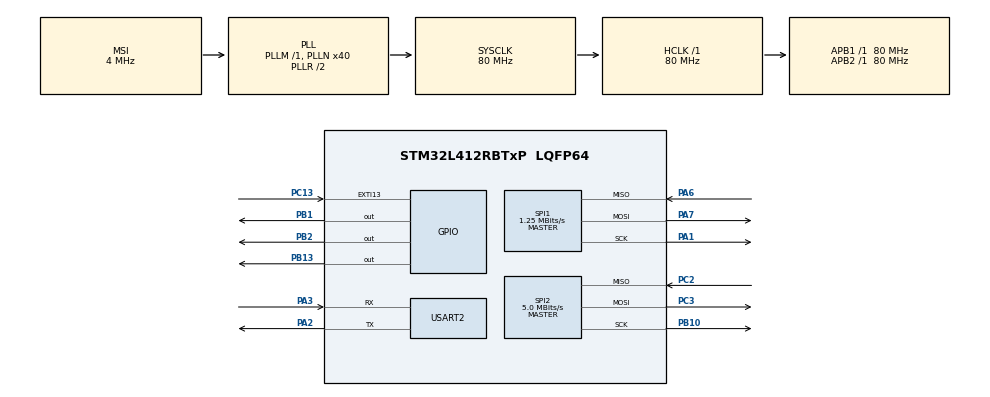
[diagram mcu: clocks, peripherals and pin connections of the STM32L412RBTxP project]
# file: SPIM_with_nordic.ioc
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Dma.Request0=SPI1_TX
Dma.Request1=SPI1_RX
Dma.SPI1_RX.1.Direction=DMA_PERIPH_TO_MEMORY
Dma.SPI1_RX.1.Instance=DMA1_Channel2
Dma.SPI1_RX.1.MemDataAlignment=DMA_MDATAALIGN_BYTE
Dma.SPI1_RX.1.MemInc=DMA_MINC_ENABLE
Dma.SPI1_RX.1.Mode=DMA_NORMAL
Dma.SPI1_RX.1.PeriphDataAlignment=DMA_PDATAALIGN_BYTE
Dma.SPI1_RX.1.PeriphInc=DMA_PINC_DISABLE
Dma.SPI1_RX.1.Priority=DMA_PRIORITY_LOW
Dma.SPI1_TX.0.Direction=DMA_MEMORY_TO_PERIPH
Dma.SPI1_TX.0.Instance=DMA1_Channel3
Dma.SPI1_TX.0.MemDataAlignment=DMA_MDATAALIGN_BYTE
Dma.SPI1_TX.0.MemInc=DMA_MINC_ENABLE
Dma.SPI1_TX.0.Mode=DMA_NORMAL
Dma.SPI1_TX.0.PeriphDataAlignment=DMA_PDATAALIGN_BYTE
Dma.SPI1_TX.0.PeriphInc=DMA_PINC_DISABLE
Dma.SPI1_TX.0.Priority=DMA_PRIORITY_LOW
Mcu.Family=STM32L4
Mcu.Name=STM32L412RBTxP
Mcu.Package=LQFP64
NVIC.DMA1_Channel2_IRQn=true\:0\:0\:false\:false\:true\:false\:true
NVIC.DMA1_Channel3_IRQn=true\:0\:0\:false\:false\:true\:false\:true
NVIC.EXTI15_10_IRQn=true\:0\:0\:false\:false\:true\:true\:true
NVIC.PriorityGroup=NVIC_PRIORITYGROUP_4
NVIC.SPI1_IRQn=true\:0\:0\:false\:false\:true\:true\:true
NVIC.USART2_IRQn=true\:0\:0\:false\:false\:true\:true\:true
PA1.Mode=Full_Duplex_Master
PA1.Signal=SPI1_SCK
PA2.Mode=Asynchronous
PA2.Signal=USART2_TX
PA3.Mode=Asynchronous
PA3.Signal=USART2_RX
PA6.Mode=Full_Duplex_Master
PA6.Signal=SPI1_MISO
PA7.Mode=Full_Duplex_Master
PA7.Signal=SPI1_MOSI
PB1.PinState=GPIO_PIN_SET
PB1.Signal=GPIO_Output
PB10.Mode=Full_Duplex_Master
PB10.Signal=SPI2_SCK
PB13.Signal=GPIO_Output
PB2.PinState=GPIO_PIN_SET
PB2.Signal=GPIO_Output
PC13.Signal=GPXTI13
PC14-OSC32_IN\ (PC14).Mode=LSE-External-Oscillator
PC14-OSC32_IN\ (PC14).Signal=RCC_OSC32_IN
PC15-OSC32_OUT\ (PC15).Mode=LSE-External-Oscillator
PC15-OSC32_OUT\ (PC15).Signal=RCC_OSC32_OUT
PC2.Mode=Full_Duplex_Master
PC2.Signal=SPI2_MISO
PC3.Mode=Full_Duplex_Master
PC3.Signal=SPI2_MOSI
ProjectManager.HeapSize=0x200
ProjectManager.StackSize=0x400
ProjectManager.TargetToolchain=STM32CubeIDE
RCC.ADCFreq_Value=80000000
RCC.AHBFreq_Value=80000000
RCC.APB1Freq_Value=80000000
RCC.APB1TimFreq_Value=80000000
RCC.APB2Freq_Value=80000000
RCC.APB2TimFreq_Value=80000000
RCC.CortexFreq_Value=80000000
RCC.HCLKFreq_Value=80000000
RCC.HSE_VALUE=8000000
RCC.HSI48_VALUE=48000000
RCC.HSI_VALUE=16000000
RCC.MSI_VALUE=4000000
RCC.PLLN=40
RCC.SYSCLKFreq_VALUE=80000000
RCC.SYSCLKSource=RCC_SYSCLKSOURCE_PLLCLK
RCC.USBFreq_Value=4000000
RCC.VCOOutputFreq_Value=160000000
SPI1.BaudRatePrescaler=SPI_BAUDRATEPRESCALER_64
SPI1.CLKPhase=SPI_PHASE_2EDGE
SPI1.CLKPolarity=SPI_POLARITY_LOW
SPI1.CalculateBaudRate=1.25 MBits/s
SPI1.DataSize=SPI_DATASIZE_8BIT
SPI1.Direction=SPI_DIRECTION_2LINES
SPI1.Mode=SPI_MODE_MASTER
SPI1.VirtualType=VM_MASTER
SPI2.BaudRatePrescaler=SPI_BAUDRATEPRESCALER_16
SPI2.CLKPhase=SPI_PHASE_2EDGE
SPI2.CalculateBaudRate=5.0 MBits/s
SPI2.DataSize=SPI_DATASIZE_8BIT
SPI2.Direction=SPI_DIRECTION_2LINES
SPI2.Mode=SPI_MODE_MASTER
SPI2.VirtualType=VM_MASTER
USART2.VirtualMode-Asynchronous=VM_ASYNC
board=custom

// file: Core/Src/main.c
/* USER CODE BEGIN Header */
/**
  ******************************************************************************
  * @file           : main.c
  * @brief          : Main program body
  ******************************************************************************
  * @attention
  *
  * <h2><center>&copy; Copyright (c) 2021 STMicroelectronics.
  * All rights reserved.</center></h2>
  *
  * This software component is licensed by ST under BSD 3-Clause license,
  * the "License"; You may not use this file except in compliance with the
  * License. You may obtain a copy of the License at:
  *                        opensource.org/licenses/BSD-3-Clause
  *
  ******************************************************************************
  */
/* USER CODE END Header */
#include "main.h"
#include "dma.h"
#include "spi.h"
#include "usart.h"
#include "gpio.h"

/* USER CODE BEGIN Includes */
#include "stdio.h"
/* USER CODE END Includes */

/* USER CODE BEGIN PD */
#ifdef __GNUC__
    #define PUTCHAR_PROTOTYPE int __io_putchar(int ch)
#else
    #define PUTCHAR_PROTOTYPE int fputc(int ch, FILE *f)
#endif

PUTCHAR_PROTOTYPE
{
  HAL_UART_Transmit(&huart2, (uint8_t *)&ch, 1, 0xFFFF);
  return ch;
}
/* USER CODE END PD */

void SystemClock_Config(void);

/* USER CODE BEGIN 0 */
uint8_t tx[20] = {0};
uint8_t rx[20] = {0};
uint8_t cs = 0;
uint8_t busy = 0;
uint8_t rx_flag = 0;
uint8_t tx_flag = 0;
/* USER CODE END 0 */

int main(void)
{

  /* MCU Configuration--------------------------------------------------------*/

  /* Reset of all peripherals, Initializes the Flash interface and the Systick. */
  HAL_Init();

  /* Configure the system clock */
  SystemClock_Config();

  /* Initialize all configured peripherals */
  MX_GPIO_Init();
  MX_DMA_Init();
  MX_SPI1_Init();
  MX_USART2_UART_Init();
  MX_SPI2_Init();
  /* USER CODE BEGIN 2 */
//  HAL_GPIO_WritePin(GPIOB, GPIO_PIN_2, GPIO_PIN_SET);
//  HAL_GPIO_WritePin(GPIOB, GPIO_PIN_1, GPIO_PIN_RESET);
  /* USER CODE END 2 */

  /* Infinite loop */
  /* USER CODE BEGIN WHILE */
  printf("spim init \r\n");
  for (int i=0;i<20;i++)
  {
	  tx[i] = i+1;
	  rx[i] = i+11;
  }

  uint32_t cnt = 0;
  printf("==============================init==============================\r\n");
	printf("---------------tx----------------- \r\n");
	for (int i=0;i<20;i++)
	{
	  printf("%d ", tx[i]);
	}
	printf("\r\n");
	printf("---------------rx----------------- \r\n");
	for (int i=0;i<20;i++)
	{
	  printf("%d ", rx[i]);
	}
	printf("\r\n");

	/* unused */
	rx_flag = 0;
	uint8_t temp = 0;
  while (1)
  {
	if (cnt++ == 3000000)
	{
		HAL_GPIO_TogglePin(GPIOB, GPIO_PIN_13);
		cnt = 0;
	}
    /* USER CODE END WHILE */

    /* USER CODE BEGIN 3 */
	if (cs==1)
	{
		HAL_GPIO_WritePin(GPIOB, GPIO_PIN_1, GPIO_PIN_RESET);
		HAL_Delay(1);
		temp++;

		if (temp > 3)
		{
			if (HAL_SPI_TransmitReceive_DMA(&hspi1, tx, rx, 2) != HAL_OK)
			{
				printf("trans dma fail \r\n");
				printf("error code : %d \r\n", (int)&hspi1.ErrorCode);
			}
			else
			{
				printf("trans dma suc \r\n");

			}
		}
		else
		{
			if (HAL_SPI_Transmit_DMA(&hspi1, tx, 2) != HAL_OK)
			{
				printf("trans dma fail \r\n");
				printf("error code : %d \r\n", (int)&hspi1.ErrorCode);
			}
			else
			{
				printf("trans dma suc \r\n");

			}
		}
		HAL_GPIO_WritePin(GPIOB, GPIO_PIN_1, GPIO_PIN_SET);
		cs = 0;
		busy = 1;
//		while (busy)
//		{
//			HAL_Delay(1);
//		}
		printf("exit \r\n");

		rx_flag=1;
//		HAL_GPIO_WritePin(GPIOB, GPIO_PIN_1, GPIO_PIN_SET);
	}

	if (rx_flag == 1)
	{
		rx_flag = 0;
		printf("---------------tx----------------- \r\n");
		for (int i=0;i<20;i++)
		{
		  printf("%d ", tx[i]);
		}
		printf("\r\n");

		printf("---------------rx----------------- \r\n");
		for (int i=0;i<20;i++)
		{
		  printf("%d ", rx[i]);
		}
		printf("\r\n");
	}

  }
  /* USER CODE END 3 */
}

void SystemClock_Config(void)
{
  RCC_OscInitTypeDef RCC_OscInitStruct = {0};
  RCC_ClkInitTypeDef RCC_ClkInitStruct = {0};
  RCC_PeriphCLKInitTypeDef PeriphClkInit = {0};

  /** Configure LSE Drive Capability
  */
  HAL_PWR_EnableBkUpAccess();
  __HAL_RCC_LSEDRIVE_CONFIG(RCC_LSEDRIVE_LOW);
  /** Configure the main internal regulator output voltage
  */
  if (HAL_PWREx_ControlVoltageScaling(PWR_REGULATOR_VOLTAGE_SCALE1) != HAL_OK)
  {
    Error_Handler();
  }
  /** Initializes the RCC Oscillators according to the specified parameters
  * in the RCC_OscInitTypeDef structure.
  */
  RCC_OscInitStruct.OscillatorType = RCC_OSCILLATORTYPE_LSE|RCC_OSCILLATORTYPE_MSI;
  RCC_OscInitStruct.LSEState = RCC_LSE_ON;
  RCC_OscInitStruct.MSIState = RCC_MSI_ON;
  RCC_OscInitStruct.MSICalibrationValue = 0;
  RCC_OscInitStruct.MSIClockRange = RCC_MSIRANGE_6;
  RCC_OscInitStruct.PLL.PLLState = RCC_PLL_ON;
  RCC_OscInitStruct.PLL.PLLSource = RCC_PLLSOURCE_MSI;
  RCC_OscInitStruct.PLL.PLLM = 1;
  RCC_OscInitStruct.PLL.PLLN = 40;
  RCC_OscInitStruct.PLL.PLLQ = RCC_PLLQ_DIV2;
  RCC_OscInitStruct.PLL.PLLR = RCC_PLLR_DIV2;
  if (HAL_RCC_OscConfig(&RCC_OscInitStruct) != HAL_OK)
  {
    Error_Handler();
  }
  /** Initializes the CPU, AHB and APB buses clocks
  */
  RCC_ClkInitStruct.ClockType = RCC_CLOCKTYPE_HCLK|RCC_CLOCKTYPE_SYSCLK
                              |RCC_CLOCKTYPE_PCLK1|RCC_CLOCKTYPE_PCLK2;
  RCC_ClkInitStruct.SYSCLKSource = RCC_SYSCLKSOURCE_PLLCLK;
  RCC_ClkInitStruct.AHBCLKDivider = RCC_SYSCLK_DIV1;
  RCC_ClkInitStruct.APB1CLKDivider = RCC_HCLK_DIV1;
  RCC_ClkInitStruct.APB2CLKDivider = RCC_HCLK_DIV1;

  if (HAL_RCC_ClockConfig(&RCC_ClkInitStruct, FLASH_LATENCY_4) != HAL_OK)
  {
    Error_Handler();
  }
  PeriphClkInit.PeriphClockSelection = RCC_PERIPHCLK_USART2;
  PeriphClkInit.Usart2ClockSelection = RCC_USART2CLKSOURCE_PCLK1;
  if (HAL_RCCEx_PeriphCLKConfig(&PeriphClkInit) != HAL_OK)
  {
    Error_Handler();
  }
  /** Enable MSI Auto calibration
  */
  HAL_RCCEx_EnableMSIPLLMode();
}

/* USER CODE BEGIN 4 */
void HAL_SPI_TxRxCpltCallback(SPI_HandleTypeDef *hspi)
{
	cs = 0;
	printf("txrx CB \r\n");
	busy = 0;
	tx_flag = 0;
	rx_flag = 1;
}

void HAL_SPI_TxCpltCallback(SPI_HandleTypeDef *hspi)
{
	printf("tx CB \r\n");
	cs = 0;
	busy = 0;
	tx_flag = 0;
	rx_flag = 1;
}

void HAL_SPI_RxCpltCallback(SPI_HandleTypeDef *hspi)
{
	printf("rx CB \r\n");
	cs = 0;
	busy = 0;
	tx_flag = 0;
	rx_flag = 1;
}

void HAL_GPIO_EXTI_Callback(uint16_t GPIO_Pin)
{
	if (GPIO_Pin==GPIO_PIN_13)
	{
		printf("button!\r\n");
		cs = 1;
		tx_flag = 1;
	}
}

void HAL_SPI_ErrorCallback(SPI_HandleTypeDef *hspi)
{
	HAL_SPI_StateTypeDef state = HAL_SPI_GetState(hspi);
	uint32_t code = HAL_SPI_GetError(hspi);
	printf("spi error \r\n state : %d / error code : %ld \r\n", state, code);
	busy = 0;
}
/* USER CODE END 4 */

void Error_Handler(void)
{
  /* USER CODE BEGIN Error_Handler_Debug */
  /* User can add his own implementation to report the HAL error return state */
  printf("error \r\n");
	__disable_irq();
  while (1)
  {
  }
  /* USER CODE END Error_Handler_Debug */
}

/************************ (C) COPYRIGHT STMicroelectronics *****END OF FILE****/
